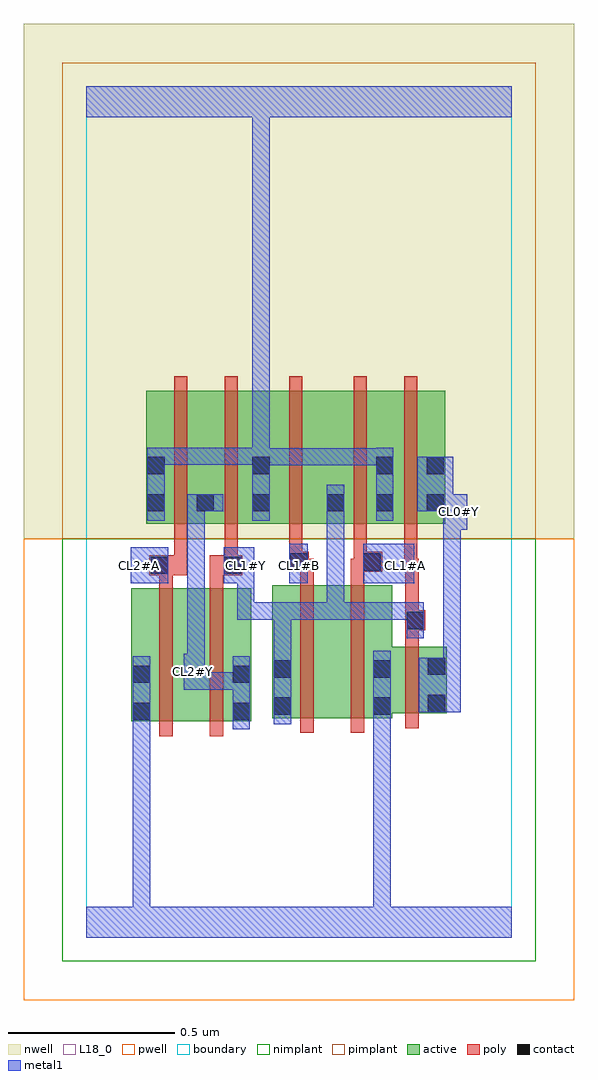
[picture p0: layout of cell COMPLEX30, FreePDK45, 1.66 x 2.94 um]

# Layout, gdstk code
import gdstk
lib = gdstk.Library(unit=1e-6, precision=1e-09)
def R(c, l, rs):  # rectangles x0, y0, x1, y1
    for r in rs: c.add(gdstk.rectangle(r[:2], r[2:], *l))
def A(c, l, x, y, w, h, nx, ny, dx, dy):  # array of equal rectangles
    R(c, l, [(x+i*dx, y+j*dy, x+i*dx+w, y+j*dy+h) for i in range(nx) for j in range(ny)])
active = (1, 0)
pwell = (2, 0)
nwell = (3, 0)
nimplant = (4, 0)
pimplant = (5, 0)
poly = (9, 0)
contact = (10, 0)
metal1 = (11, 0)
L18_0 = (18, 0)
boundary = (235, 0)

complex30 = lib.new_cell('COMPLEX30')
R(complex30, active, [(0.136,0.65,0.316,1.05), (0.136,0.65,0.196,1.05), (0.316,0.65,0.496,1.05), (0.436,0.65,0.496,1.05), (0.56,0.66,0.74,1.06), (0.56,0.66,0.62,1.06), (0.74,0.66,0.92,1.06), (0.86,0.66,0.92,0.838), (0.86,0.674,1.084,0.874), (1.024,0.674,1.084,0.874), (0.18,1.244,0.24,1.644), (0.18,1.244,0.388,1.644), (0.328,1.244,0.388,1.644), (0.328,1.244,0.556,1.644), (0.496,1.244,0.556,1.644), (0.496,1.244,0.78,1.644), (0.72,1.244,0.78,1.644), (0.72,1.244,0.928,1.644), (0.868,1.244,0.928,1.644), (0.868,1.244,1.08,1.644), (1.02,1.244,1.08,1.644)])
R(complex30, pwell, [(-0.188,-0.188,1.468,1.2)])
R(complex30, nwell, [(-0.188,1.2,1.468,2.748)])
R(complex30, nimplant, [(-0.072,-0.072,1.352,1.2)])
R(complex30, pimplant, [(-0.072,1.2,1.352,2.632)])
A(complex30, poly, 0.416, 1.2, 0.04, 0.488, 3, 1, 0.194, 0)
R(complex30, poly, [(0.22,0.606,0.26,1.094), (0.372,0.606,0.412,1.094), (0.644,0.616,0.684,1.104), (0.796,0.616,0.836,1.104), (0.96,0.63,1,0.918), (0.96,0.878,1,0.964), (0.96,0.924,1.02,0.984), (0.96,0.944,1,1.14), (0.22,1.054,0.26,1.13), (0.372,1.054,0.412,1.13), (0.644,1.064,0.684,1.14), (0.796,1.064,0.836,1.14), (0.19,1.09,0.304,1.15), (0.22,1.09,0.26,1.13), (0.22,1.09,0.26,1.13), (0.372,1.09,0.47,1.15), (0.61,1.1,0.67,1.16), (0.63,1.1,0.67,1.14), (0.63,1.1,0.684,1.14), (0.796,1.1,0.844,1.14), (0.804,1.1,0.844,1.14), (0.804,1.1,0.89,1.16), (0.956,1.1,0.996,1.24), (0.956,1.1,1,1.14), (0.264,1.11,0.304,1.24), (0.416,1.11,0.456,1.15), (0.416,1.11,0.456,1.15), (0.416,1.11,0.456,1.24), (0.61,1.12,0.65,1.24), (0.804,1.12,0.844,1.24), (0.264,1.2,0.304,1.688), (0.956,1.2,0.996,1.688)])
R(complex30, contact, [(0.14,0.654,0.192,0.706), (0.44,0.654,0.492,0.706), (0.564,0.67,0.616,0.722), (0.864,0.67,0.916,0.722), (1.028,0.678,1.08,0.73), (0.14,0.766,0.192,0.818), (0.44,0.766,0.492,0.818), (0.564,0.782,0.616,0.834), (0.864,0.782,0.916,0.834), (1.028,0.79,1.08,0.842), (0.964,0.928,1.016,0.98), (0.194,1.094,0.246,1.146), (0.414,1.094,0.466,1.146), (0.614,1.104,0.666,1.156), (0.834,1.104,0.886,1.156), (0.184,1.282,0.236,1.334), (0.332,1.282,0.384,1.334), (0.5,1.282,0.552,1.334), (0.724,1.282,0.776,1.334), (0.872,1.282,0.924,1.334), (1.024,1.282,1.076,1.334), (0.184,1.394,0.236,1.446), (0.5,1.394,0.552,1.446), (0.872,1.394,0.924,1.446), (1.024,1.394,1.076,1.446)])
R(complex30, metal1, [(0,0,1.28,0.092), (0.14,0.04,0.192,0.092), (0.14,0.04,0.192,0.092), (0.14,0.04,0.192,0.092), (0.14,0.04,0.192,0.092), (0.14,0.04,0.192,0.092), (0.14,0.04,0.192,0.092), (0.14,0.04,0.192,0.092), (0.14,0.04,0.192,0.092), (0.14,0.04,0.192,0.092), (0.14,0.04,0.192,0.092), (0.14,0.04,0.192,0.678), (0.864,0.04,0.916,0.092), (0.864,0.04,0.916,0.092), (0.864,0.04,0.916,0.092), (0.864,0.04,0.916,0.092), (0.864,0.04,0.916,0.092), (0.864,0.04,0.916,0.092), (0.864,0.04,0.916,0.694), (0.14,0.626,0.192,0.678), (0.14,0.626,0.192,0.678), (0.14,0.626,0.192,0.846), (0.44,0.626,0.492,0.846), (0.564,0.642,0.616,0.862), (0.864,0.642,0.916,0.694), (0.864,0.642,0.916,0.694), (0.864,0.642,0.916,0.694), (0.864,0.642,0.916,0.694), (0.864,0.642,0.916,0.694), (0.864,0.642,0.916,0.694), (0.864,0.642,0.916,0.862), (1,0.678,1.126,0.842), (0.294,0.746,0.356,0.854), (0.304,0.746,0.356,0.798), (0.304,0.746,0.356,0.798), (0.304,0.746,0.356,0.798), (0.304,0.746,0.356,0.798), (0.304,0.746,0.492,0.798), (1.074,0.79,1.126,1.278), (0.304,0.802,0.356,0.854), (0.304,0.802,0.356,0.854), (0.304,0.802,0.356,1.334), (0.564,0.81,0.616,1.008), (0.964,0.9,1.016,1.008), (0.454,0.956,0.616,1.008), (0.454,0.956,0.506,1.118), (0.564,0.956,0.616,1.008), (0.564,0.956,0.662,1.008), (0.61,0.956,0.662,1.008), (0.61,0.956,0.776,1.008), (0.724,0.956,0.776,1.008), (0.724,0.956,0.776,1.008), (0.724,0.956,0.776,1.008), (0.724,0.956,0.886,1.008), (0.724,0.956,0.776,1.306), (0.834,0.956,0.886,1.008), (0.834,0.956,1.016,1.008), (0.134,1.066,0.246,1.174), (0.414,1.066,0.506,1.174), (0.454,1.066,0.506,1.118), (0.61,1.066,0.666,1.184), (0.834,1.066,0.986,1.184), (1.074,1.226,1.146,1.334), (0.184,1.254,0.236,1.474), (0.5,1.254,0.552,1.474), (0.724,1.254,0.776,1.306), (0.724,1.254,0.776,1.306), (0.724,1.254,0.776,1.362), (0.872,1.254,0.924,1.474), (0.304,1.282,0.412,1.334), (0.996,1.282,1.104,1.446), (1.052,1.282,1.104,1.334), (1.052,1.282,1.126,1.334), (1.074,1.282,1.126,1.334), (0.5,1.42,0.666,1.472), (0.614,1.42,0.666,1.472), (0.614,1.42,0.666,1.472), (0.614,1.42,0.666,1.472), (0.614,1.42,0.776,1.472), (0.724,1.42,0.776,1.472), (0.724,1.42,0.776,1.472), (0.724,1.42,0.776,1.472), (0.724,1.42,0.924,1.472), (0.184,1.422,0.236,1.474), (0.184,1.422,0.236,1.474), (0.184,1.422,0.382,1.474), (0.33,1.422,0.382,1.474), (0.33,1.422,0.382,1.474), (0.33,1.422,0.382,1.474), (0.33,1.422,0.552,1.474), (0.5,1.422,0.552,1.474), (0.5,1.422,0.552,1.474), (0.5,1.422,0.552,1.474), (0.5,1.422,0.552,1.474), (0.5,1.422,0.552,1.474), (0.5,1.422,0.552,1.474), (0.5,1.422,0.552,1.474), (0.5,1.422,0.552,1.474), (0.5,1.422,0.552,1.474), (0.5,1.422,0.552,1.474), (0.5,1.422,0.552,2.52), (0,2.468,1.28,2.56), (0.5,2.468,0.552,2.52), (0.5,2.468,0.552,2.52), (0.5,2.468,0.552,2.52), (0.5,2.468,0.552,2.52), (0.5,2.468,0.552,2.52), (0.5,2.468,0.552,2.52)])
R(complex30, L18_0, [(0,0,1.28,0.092), (0.14,0.04,0.192,0.092), (0.14,0.04,0.192,0.092), (0.14,0.04,0.192,0.092), (0.14,0.04,0.192,0.092), (0.14,0.04,0.192,0.092), (0.14,0.04,0.192,0.092), (0.14,0.04,0.192,0.092), (0.14,0.04,0.192,0.092), (0.14,0.04,0.192,0.092), (0.14,0.04,0.192,0.092), (0.14,0.04,0.192,0.678), (0.864,0.04,0.916,0.092), (0.864,0.04,0.916,0.092), (0.864,0.04,0.916,0.092), (0.864,0.04,0.916,0.092), (0.864,0.04,0.916,0.092), (0.864,0.04,0.916,0.092), (0.864,0.04,0.916,0.694), (0.14,0.626,0.192,0.678), (0.14,0.626,0.192,0.678), (0.14,0.626,0.192,0.846), (0.44,0.626,0.492,0.846), (0.564,0.642,0.616,0.862), (0.864,0.642,0.916,0.694), (0.864,0.642,0.916,0.694), (0.864,0.642,0.916,0.694), (0.864,0.642,0.916,0.694), (0.864,0.642,0.916,0.694), (0.864,0.642,0.916,0.694), (0.864,0.642,0.916,0.862), (1,0.678,1.126,0.842), (0.294,0.746,0.356,0.854), (0.304,0.746,0.356,0.798), (0.304,0.746,0.356,0.798), (0.304,0.746,0.356,0.798), (0.304,0.746,0.356,0.798), (0.304,0.746,0.492,0.798), (0.294,0.774,0.346,0.826), (1.074,0.79,1.126,1.278), (0.304,0.802,0.356,0.854), (0.304,0.802,0.356,0.854), (0.304,0.802,0.356,1.334), (0.564,0.81,0.616,1.008), (0.964,0.9,1.016,1.008), (0.454,0.956,0.506,1.118), (0.454,0.956,0.616,1.008), (0.564,0.956,0.616,1.008), (0.564,0.956,0.662,1.008), (0.61,0.956,0.662,1.008), (0.61,0.956,0.776,1.008), (0.724,0.956,0.776,1.008), (0.724,0.956,0.776,1.008), (0.724,0.956,0.776,1.008), (0.724,0.956,0.886,1.008), (0.724,0.956,0.776,1.306), (0.834,0.956,0.886,1.008), (0.834,0.956,1.016,1.008), (0.134,1.066,0.246,1.174), (0.414,1.066,0.506,1.174), (0.454,1.066,0.506,1.118), (0.61,1.066,0.666,1.184), (0.834,1.066,0.986,1.184), (0.134,1.094,0.186,1.146), (0.454,1.094,0.506,1.146), (0.614,1.094,0.666,1.146), (0.934,1.094,0.986,1.146), (1.074,1.226,1.146,1.334), (0.184,1.254,0.236,1.474), (0.5,1.254,0.552,1.474), (0.724,1.254,0.776,1.306), (0.724,1.254,0.776,1.306), (0.724,1.254,0.776,1.362), (0.872,1.254,0.924,1.474), (1.094,1.254,1.146,1.306), (0.304,1.282,0.412,1.334), (0.996,1.282,1.104,1.446), (1.052,1.282,1.104,1.334), (1.052,1.282,1.126,1.334), (1.074,1.282,1.126,1.334), (0.5,1.42,0.666,1.472), (0.614,1.42,0.666,1.472), (0.614,1.42,0.666,1.472), (0.614,1.42,0.666,1.472), (0.614,1.42,0.776,1.472), (0.724,1.42,0.776,1.472), (0.724,1.42,0.776,1.472), (0.724,1.42,0.776,1.472), (0.724,1.42,0.924,1.472), (0.184,1.422,0.236,1.474), (0.184,1.422,0.236,1.474), (0.184,1.422,0.382,1.474), (0.33,1.422,0.382,1.474), (0.33,1.422,0.382,1.474), (0.33,1.422,0.382,1.474), (0.33,1.422,0.552,1.474), (0.5,1.422,0.552,1.474), (0.5,1.422,0.552,1.474), (0.5,1.422,0.552,1.474), (0.5,1.422,0.552,1.474), (0.5,1.422,0.552,1.474), (0.5,1.422,0.552,1.474), (0.5,1.422,0.552,1.474), (0.5,1.422,0.552,1.474), (0.5,1.422,0.552,1.474), (0.5,1.422,0.552,1.474), (0.5,1.422,0.552,2.52), (0,2.468,1.28,2.56), (0.5,2.468,0.552,2.52), (0.5,2.468,0.552,2.52), (0.5,2.468,0.552,2.52), (0.5,2.468,0.552,2.52), (0.5,2.468,0.552,2.52), (0.5,2.468,0.552,2.52)])
R(complex30, boundary, [(0,0,1.28,2.56)])
complex30.add(gdstk.Label('CL0#Y', (1.12,1.28), layer=11, texttype=0))
complex30.add(gdstk.Label('CL1#A', (0.96,1.12), layer=11, texttype=0))
complex30.add(gdstk.Label('CL1#B', (0.64,1.12), layer=11, texttype=0))
complex30.add(gdstk.Label('CL1#Y', (0.48,1.12), layer=11, texttype=0))
complex30.add(gdstk.Label('CL2#A', (0.16,1.12), layer=11, texttype=0))
complex30.add(gdstk.Label('CL2#Y', (0.32,0.8), layer=11, texttype=0))

lib.write_gds('COMPLEX30.gds')
